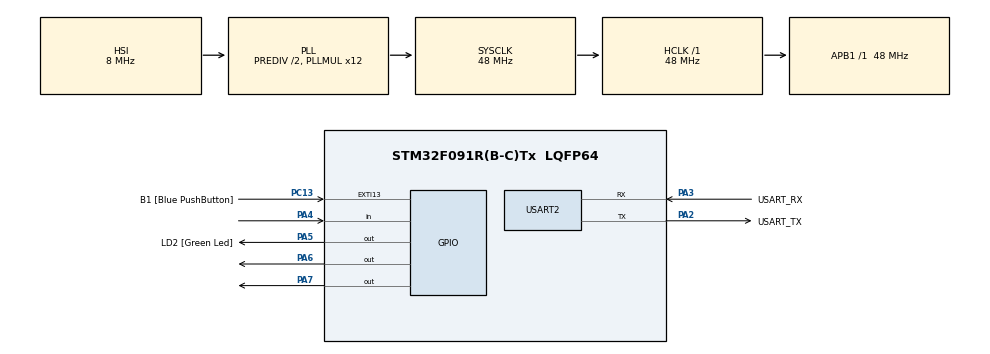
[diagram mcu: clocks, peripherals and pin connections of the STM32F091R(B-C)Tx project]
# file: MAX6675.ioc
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Mcu.Family=STM32F0
Mcu.Name=STM32F091R(B-C)Tx
Mcu.Package=LQFP64
PA13.GPIO_Label=TMS
PA13.Mode=Serial_Wire
PA13.Signal=SYS_SWDIO
PA14.GPIO_Label=TCK
PA14.Mode=Serial_Wire
PA14.Signal=SYS_SWCLK
PA2.GPIO_Label=USART_TX
PA2.GPIO_Mode=GPIO_MODE_AF_PP
PA2.GPIO_PuPd=GPIO_NOPULL
PA2.GPIO_Speed=GPIO_SPEED_FREQ_LOW
PA2.Mode=Asynchronous
PA2.Signal=USART2_TX
PA3.GPIO_Label=USART_RX
PA3.GPIO_Mode=GPIO_MODE_AF_PP
PA3.GPIO_PuPd=GPIO_NOPULL
PA3.GPIO_Speed=GPIO_SPEED_FREQ_LOW
PA3.Mode=Asynchronous
PA3.Signal=USART2_RX
PA4.Signal=GPIO_Input
PA5.GPIO_Label=LD2 [Green Led]
PA5.GPIO_Mode=GPIO_MODE_OUTPUT_PP
PA5.GPIO_PuPd=GPIO_NOPULL
PA5.GPIO_Speed=GPIO_SPEED_FREQ_LOW
PA5.Signal=GPIO_Output
PA6.Signal=GPIO_Output
PA7.Signal=GPIO_Output
PC13.GPIO_Label=B1 [Blue PushButton]
PC13.GPIO_ModeDefaultEXTI=GPIO_MODE_IT_FALLING
PC13.Signal=GPXTI13
PC14OSC32_IN.Mode=LSE-External-Oscillator
PC14OSC32_IN.Signal=RCC_OSC32_IN
PC15OSC32_OUT.Mode=LSE-External-Oscillator
PC15OSC32_OUT.Signal=RCC_OSC32_OUT
PF0-OSC_IN.Mode=HSE-External-Clock-Source
PF0-OSC_IN.Signal=RCC_OSC_IN
PF1-OSC_OUT.Signal=RCC_OSC_OUT
ProjectManager.HeapSize=0x200
ProjectManager.StackSize=0x400
ProjectManager.TargetToolchain=STM32CubeIDE
RCC.AHBFreq_Value=48000000
RCC.APB1Freq_Value=48000000
RCC.APB1TimFreq_Value=48000000
RCC.FLatency-AdvancedSettings=FLASH_LATENCY_1
RCC.HCLKFreq_Value=48000000
RCC.PLLDivider=RCC_PREDIV_DIV2
RCC.PLLMUL=RCC_PLL_MUL12
RCC.PREFETCH_ENABLE-AdvancedSettings=1
RCC.SYSCLKFreq_VALUE=48000000
RCC.SYSCLKSource=RCC_SYSCLKSOURCE_PLLCLK
USART2.VirtualMode=VM_ASYNC
USART2.VirtualMode-Asynchronous=VM_ASYNC
board=NUCLEO-F091RC

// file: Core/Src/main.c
/* USER CODE BEGIN Header */
/**
  ******************************************************************************
  * @file           : main.c
  * @brief          : Main program body
  ******************************************************************************
  * @attention
  *
  * Copyright (c) 2022 STMicroelectronics.
  * All rights reserved.
  *
  * This software is licensed under terms that can be found in the LICENSE file
  * in the root directory of this software component.
  * If no LICENSE file comes with this software, it is provided AS-IS.
  *
  ******************************************************************************
  */
/* USER CODE END Header */
#include "main.h"

/* USER CODE BEGIN PTD */
#define CSEN HAL_GPIO_WritePin(GPIOA, GPIO_PIN_6, GPIO_PIN_RESET);
#define CSDI HAL_GPIO_WritePin(GPIOA, GPIO_PIN_6, GPIO_PIN_SET);

#define SCK_H HAL_GPIO_WritePin(GPIOA, GPIO_PIN_7, GPIO_PIN_SET);
#define SCK_L HAL_GPIO_WritePin(GPIOA, GPIO_PIN_7, GPIO_PIN_RESET);
/* USER CODE END PTD */

UART_HandleTypeDef huart2;

/* USER CODE BEGIN PV */
uint16_t heat;
uint16_t tempval;
uint16_t data[16];
/* USER CODE END PV */

void SystemClock_Config(void);
static void MX_GPIO_Init(void);
static void MX_USART2_UART_Init(void);
/* USER CODE BEGIN PFP */
int readtemp();
/* USER CODE END PFP */

int main(void)
{

  /* MCU Configuration--------------------------------------------------------*/

  /* Reset of all peripherals, Initializes the Flash interface and the Systick. */
  HAL_Init();

  /* Configure the system clock */
  SystemClock_Config();

  /* Initialize all configured peripherals */
  MX_GPIO_Init();
  MX_USART2_UART_Init();

  /* Infinite loop */
  /* USER CODE BEGIN WHILE */
  while (1)
  {
	  tempval = readtemp()/4;
	  HAL_Delay(200);
    /* USER CODE END WHILE */

  }
}

void SystemClock_Config(void)
{
  RCC_OscInitTypeDef RCC_OscInitStruct = {0};
  RCC_ClkInitTypeDef RCC_ClkInitStruct = {0};
  RCC_PeriphCLKInitTypeDef PeriphClkInit = {0};

  /** Initializes the RCC Oscillators according to the specified parameters
  * in the RCC_OscInitTypeDef structure.
  */
  RCC_OscInitStruct.OscillatorType = RCC_OSCILLATORTYPE_HSI;
  RCC_OscInitStruct.HSIState = RCC_HSI_ON;
  RCC_OscInitStruct.HSICalibrationValue = RCC_HSICALIBRATION_DEFAULT;
  RCC_OscInitStruct.PLL.PLLState = RCC_PLL_ON;
  RCC_OscInitStruct.PLL.PLLSource = RCC_PLLSOURCE_HSI;
  RCC_OscInitStruct.PLL.PLLMUL = RCC_PLL_MUL12;
  RCC_OscInitStruct.PLL.PREDIV = RCC_PREDIV_DIV2;
  if (HAL_RCC_OscConfig(&RCC_OscInitStruct) != HAL_OK)
  {
    Error_Handler();
  }
  /** Initializes the CPU, AHB and APB buses clocks
  */
  RCC_ClkInitStruct.ClockType = RCC_CLOCKTYPE_HCLK|RCC_CLOCKTYPE_SYSCLK
                              |RCC_CLOCKTYPE_PCLK1;
  RCC_ClkInitStruct.SYSCLKSource = RCC_SYSCLKSOURCE_PLLCLK;
  RCC_ClkInitStruct.AHBCLKDivider = RCC_SYSCLK_DIV1;
  RCC_ClkInitStruct.APB1CLKDivider = RCC_HCLK_DIV1;

  if (HAL_RCC_ClockConfig(&RCC_ClkInitStruct, FLASH_LATENCY_1) != HAL_OK)
  {
    Error_Handler();
  }
  PeriphClkInit.PeriphClockSelection = RCC_PERIPHCLK_USART2;
  PeriphClkInit.Usart2ClockSelection = RCC_USART2CLKSOURCE_PCLK1;
  if (HAL_RCCEx_PeriphCLKConfig(&PeriphClkInit) != HAL_OK)
  {
    Error_Handler();
  }
}

static void MX_USART2_UART_Init(void)
{

  huart2.Instance = USART2;
  huart2.Init.BaudRate = 115200;
  huart2.Init.WordLength = UART_WORDLENGTH_8B;
  huart2.Init.StopBits = UART_STOPBITS_1;
  huart2.Init.Parity = UART_PARITY_NONE;
  huart2.Init.Mode = UART_MODE_TX_RX;
  huart2.Init.HwFlowCtl = UART_HWCONTROL_NONE;
  huart2.Init.OverSampling = UART_OVERSAMPLING_16;
  huart2.Init.OneBitSampling = UART_ONE_BIT_SAMPLE_DISABLE;
  huart2.AdvancedInit.AdvFeatureInit = UART_ADVFEATURE_NO_INIT;
  if (HAL_UART_Init(&huart2) != HAL_OK)
  {
    Error_Handler();
  }

}

static void MX_GPIO_Init(void)
{
  GPIO_InitTypeDef GPIO_InitStruct = {0};

  /* GPIO Ports Clock Enable */
  __HAL_RCC_GPIOC_CLK_ENABLE();
  __HAL_RCC_GPIOF_CLK_ENABLE();
  __HAL_RCC_GPIOA_CLK_ENABLE();

  /*Configure GPIO pin Output Level */
  HAL_GPIO_WritePin(GPIOA, GPIO_PIN_5|GPIO_PIN_6|GPIO_PIN_7, GPIO_PIN_RESET);

  /*Configure GPIO pin : PC13 */
  GPIO_InitStruct.Pin = GPIO_PIN_13;
  GPIO_InitStruct.Mode = GPIO_MODE_IT_FALLING;
  GPIO_InitStruct.Pull = GPIO_NOPULL;
  HAL_GPIO_Init(GPIOC, &GPIO_InitStruct);

  /*Configure GPIO pin : PA4 */
  GPIO_InitStruct.Pin = GPIO_PIN_4;
  GPIO_InitStruct.Mode = GPIO_MODE_INPUT;
  GPIO_InitStruct.Pull = GPIO_NOPULL;
  HAL_GPIO_Init(GPIOA, &GPIO_InitStruct);

  /*Configure GPIO pins : PA5 PA6 PA7 */
  GPIO_InitStruct.Pin = GPIO_PIN_5|GPIO_PIN_6|GPIO_PIN_7;
  GPIO_InitStruct.Mode = GPIO_MODE_OUTPUT_PP;
  GPIO_InitStruct.Pull = GPIO_NOPULL;
  GPIO_InitStruct.Speed = GPIO_SPEED_FREQ_LOW;
  HAL_GPIO_Init(GPIOA, &GPIO_InitStruct);

}

/* USER CODE BEGIN 4 */
int readtemp(){
	//data[16];
	CSEN;
	for (int x = 0; x<=16; x++)
	{
	SCK_H;
	data[x] = HAL_GPIO_ReadPin (GPIOA, GPIO_PIN_4);
	SCK_L;
	}
	CSDI;
	heat = data[3]*1024+data[4]*512+data[5]*256+data[6]*128+data[7]*64+data[8]*32+data[9]*16+data[10]*8+data[11]*4+data[12]*2+data[13]*1;
	if (data[2]==0) heat = 0;
	return heat;

}
/* USER CODE END 4 */

void Error_Handler(void)
{
  __disable_irq();
  while (1)
  {
  }
}
